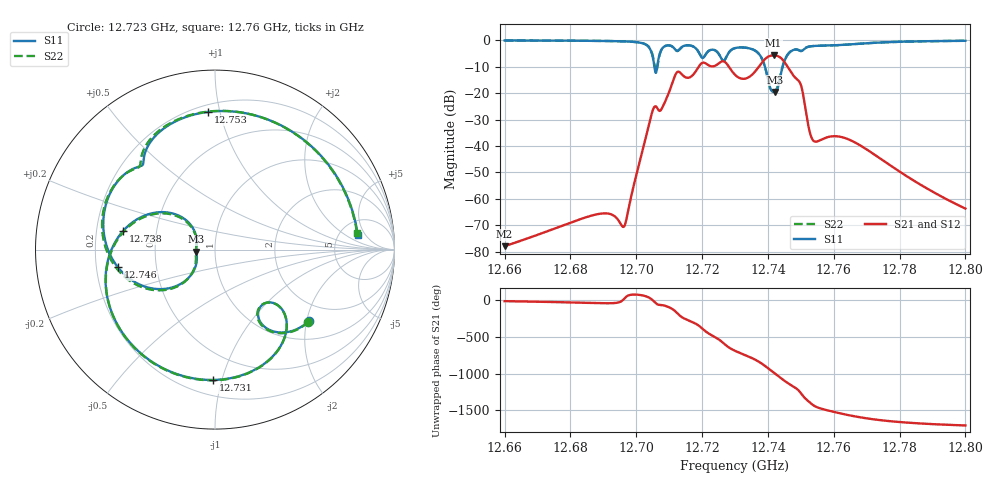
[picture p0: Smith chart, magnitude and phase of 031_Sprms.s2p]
! TOUCHSTONE file generated by CST MICROWAVE STUDIO
! Date and time: Wed Jul 31 12:13:27 2024
! Project name: WaveGuide_BPF-Ver4.1_U-shape_Ku_T3_C4_CWA_2.cst
! Parameters = {cavity_h=16; cavity_l0=10; cavity_l1=15.1628; cavity_l2=16.8021; cavity_l3=17.1259; cavity_l4=17.2621; cavity_l5=17.1413; cavity_l6=17.5921; cavity_r=2.5; cavity_screw_l=0.5; cavity_screw_r=1.5; cavity_w=8; iris_h00=0; iris_h01=8.8103; iris_h112=0; iris_h12=5.6011; iris_h211=3.6531; 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
! Header version: 2018
! Port assignment regex: !\s*Touchstone port\s*([0-9]+)\s*=\s*(CST MWS port|CST DS port)\s*([0-9]+|Zmin|Zmax)\s*\(\"(.*)\"\)(\s*mode\s*([0-9]+))?.*
! Touchstone port assignment:
! Touchstone port 1 = CST MWS port 1 ("")
! Touchstone port 2 = CST MWS port 2 ("")
# GHz S RI R 50
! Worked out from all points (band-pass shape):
!   5001 points, 12.66 GHz to 12.8 GHz, reference 50 ohm
!   highest |S21| = -5.76 dB at 12.742 GHz (marker M1); lowest = -77.9 dB at 12.66 GHz (marker M2)
!   |S21| within 3 dB of the highest: 12.72508 GHz to 12.72737 GHz (2.296 MHz wide, 0.018 % of centre); 12.73802 GHz to 12.7453 GHz (7.275 MHz wide, 0.0571 % of centre) (the widest 2 of 3)
!   lowest |S11| = -19.6 dB at 12.742 GHz (marker M3), VSWR 1.23, Z = 40.6 - j0.946 ohm
!   |S11| at or under -10 dB: 12.70551 GHz to 12.70635 GHz (838.9 kHz wide, 0.0066 % of centre); 12.73909 GHz to 12.74449 GHz (5.396 MHz wide, 0.0423 % of centre)
!   |S22| runs from -19.6 to -0.1 dB; largest |S21 - S12| = 1e-09
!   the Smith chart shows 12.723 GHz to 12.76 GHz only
!   S11 on the Smith chart (normalised r, x): 12.723 GHz: 1.49, -2.07; 12.731 GHz: 0.30, -0.94; 12.738 GHz: 0.32, +0.09; 12.746 GHz: 0.29, -0.08; 12.753 GHz: 0.25, +0.92; 12.76 GHz: 7.44, +3.34
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12.66  0.1769 0.9697  0.000124 -3.07e-05  0.000124 -3.07e-05  0.1829 0.9686
12.68335  0.5045 0.8326  0.000345 -0.000242  0.000345 -0.000242  0.5099 0.8294
12.69632  0.7667 0.5558  0.000287 9.59e-05  0.000287 9.59e-05  0.7701 0.5518
12.70466  0.5689 -0.1013  0.0393 0.00797  0.0393 0.00797  0.5907 -0.0999
12.70668  0.248 0.3385  0.0227 -0.0426  0.0227 -0.0426  0.2482 0.3157
12.7102  0.7518 0.2506  -0.0238 -0.1113  -0.0238 -0.1113  0.7533 0.2399
12.7197  0.4281 -0.2312  0.3502 -0.0781  0.3502 -0.0781  0.4279 -0.2361
12.72345  0.5247 -0.3954  -0.2108 -0.2402  -0.2108 -0.2402  0.5205 -0.4016
12.72706  0.326 -0.2976  -0.1448 0.3532  -0.1448 0.3532  0.3242 -0.2977
12.73  0.2175 -0.6714  0.1919 0.1115  0.1919 0.1115  0.219 -0.6726
12.73134  -0.011 -0.7262  0.1926 0.0132  0.1926 0.0132  -0.00796 -0.7282
12.73753  -0.5127 0.103  -0.1966 -0.2674  -0.1966 -0.2674  -0.5153 0.0931
12.74173  -0.1049 0.00676  -0.0465 0.5129  -0.0465 0.5129  -0.1064 -0.00505
12.74212  -0.1038 -0.0115  0.0729 0.5084  0.0729 0.5084  -0.1068 -0.0238
12.74618  -0.5409 -0.0987  0.1806 -0.2378  0.1806 -0.2378  -0.5438 -0.1095
12.74996  -0.4084 0.4676  -0.1452 0.00663  -0.1452 0.00663  -0.4255 0.4584
12.75327  -0.0394 0.7672  0.0127 0.00643  0.0127 0.00643  -0.0614 0.766
12.75335  -0.0243 0.7688  0.0127 0.00561  0.0127 0.00561  -0.0463 0.7681
12.76024  0.795 0.0811  0.0017 -0.0152  0.0017 -0.0152  0.7912 0.0944
12.76769  0.3174 -0.7938  -0.00939 -0.00486  -0.00939 -0.00486  0.3162 -0.7928
12.77668  -0.4868 -0.7759  -0.00406 0.00199  -0.00406 0.00199  -0.4929 -0.7719
12.8  -0.9707 0.00101  -4.45e-05 0.000655  -4.45e-05 0.000655  -0.9708 0.00864
